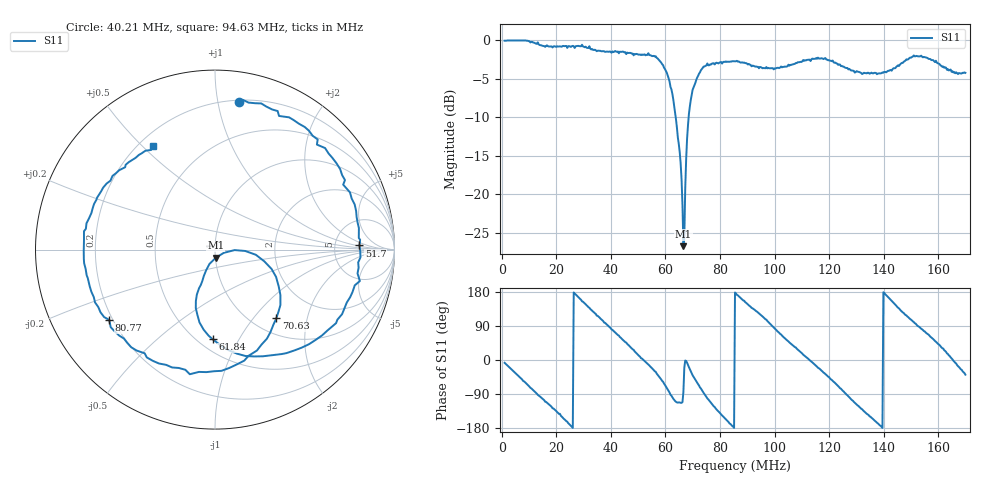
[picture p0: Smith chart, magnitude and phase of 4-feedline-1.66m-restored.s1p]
! Touchstone file generated by AntScopeKit
# MHz S RI R 50
! Format: Frequency S-real S-imaginary (normalized to 50 Ohm)
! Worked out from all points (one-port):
!   501 points, 1 MHz to 170 MHz, reference 50 ohm
!   lowest |S11| = -26.7 dB at 66.57 MHz (marker M1), VSWR 1.10, Z = 50.2 - j4.61 ohm
!   |S11| at or under -10 dB: 63.77 MHz to 68.5 MHz (4.728 MHz wide, 7.15 % of centre)
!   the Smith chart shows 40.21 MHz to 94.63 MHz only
!   S11 on the Smith chart (normalised r, x): 40.21 MHz: 0.22, +1.15; 51.7 MHz: 9.10, +1.18; 61.84 MHz: 0.59, -0.78; 70.63 MHz: 1.27, -1.32; 80.77 MHz: 0.19, -0.29; 94.63 MHz: 0.26, +0.54
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1  0.9877 -0.129
6.07  0.742 -0.6704
11.478  0.1747 -0.9533
22.294  -0.8119 -0.4338
29.392  -0.8486 0.3984
34.8  -0.3871 0.7584
40.208  0.1311 0.8215
43.25  0.4127 0.7369
51.7  0.8047 0.0229
58.122  0.4819 -0.5467
61.84  -0.0137 -0.4988
64.544  -0.0891 -0.2158
66.572  0.00401 -0.0458
68.6  0.3151 -0.1077
70.628  0.3417 -0.3826
74.684  -0.0483 -0.6826
80.768  -0.5896 -0.3913
85.5  -0.7305 0.0248
94.626  -0.3471 0.5756
106.794  0.551 0.431
116.596  0.6989 -0.3049
122.004  0.3661 -0.6157
127.75  -0.1234 -0.6333
139.58  -0.6195 -0.00838
149.044  -0.2956 0.6942
154.452  0.1493 0.7625
160.536  0.5426 0.4451
170  0.4806 -0.385
